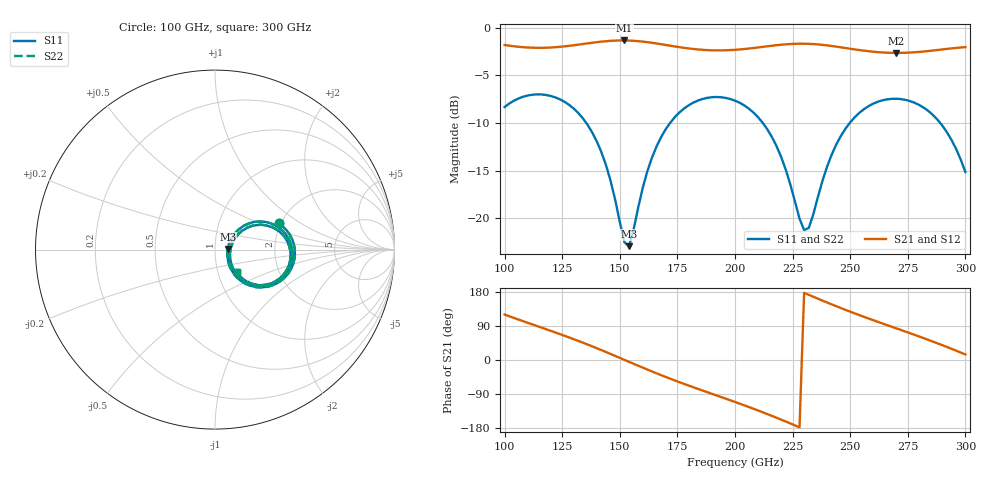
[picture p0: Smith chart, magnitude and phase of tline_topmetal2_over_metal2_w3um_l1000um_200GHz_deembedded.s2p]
! Created with skrf 2.2.0 (http://scikit-rf.org).
# GHz S DB R 50.0
! Port[1] = P1
! Port[2] = P2
!freq dBS11 angS11 dBS21 angS21 dBS12 angS12 dBS22 angS22
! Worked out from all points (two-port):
!   101 points, 100 GHz to 300 GHz, reference 50 ohm
!   highest |S21| = -1.36 dB at 152 GHz (marker M1); lowest = -2.7 dB at 270 GHz (marker M2)
!   |S21| within 3 dB of the highest: start of sweep to end of sweep
!   lowest |S11| = -22.9 dB at 154 GHz (marker M3), VSWR 1.15, Z = 57.7 + j0.461 ohm
!   |S11| at or under -10 dB: 135.4 GHz to 171.9 GHz (36.44 GHz wide, 23.7 % of centre); 212 GHz to 249.8 GHz (37.78 GHz wide, 16.4 % of centre); 289 GHz to end of sweep
!   |S22| runs from -23.0 to -7.0 dB; largest |S21 - S12| = 9.4e-14
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100  -8.33 22.4  -1.83 119.9  -1.83 119.9  -8.33 22.3
110  -7.13 4.1  -2.09 98.2  -2.09 98.2  -7.13 4.0
118  -7.07 -10.3  -2.12 81.3  -2.12 81.3  -7.07 -10.5
134  -9.53 -39.1  -1.73 45.7  -1.73 45.7  -9.53 -39.2
144  -14.42 -52.0  -1.44 21.1  -1.44 21.1  -14.43 -52.2
152  -22.52 -22.9  -1.36 0.4  -1.36 0.4  -22.59 -23.2
154  -22.93 3.2  -1.37 -4.8  -1.37 -4.8  -23.01 3.2
162  -15.04 40.5  -1.54 -25.3  -1.54 -25.3  -15.05 40.5
168  -11.46 35.1  -1.75 -40.1  -1.75 -40.1  -11.46 35.2
182  -7.86 12.0  -2.25 -72.1  -2.25 -72.1  -7.87 11.9
200  -7.67 -19.4  -2.34 -110.8  -2.34 -110.8  -7.67 -19.5
212  -9.98 -39.3  -2.03 -137.9  -2.03 -137.9  -9.99 -39.5
220  -13.55 -48.2  -1.81 -157.3  -1.81 -157.3  -13.57 -48.7
230  -21.24 -14.3  -1.70 177.2  -1.70 177.2  -21.42 -14.6
234  -19.58 20.9  -1.74 166.9  -1.74 166.9  -19.71 21.4
240  -14.57 34.6  -1.87 151.7  -1.87 151.7  -14.61 35.1
248  -10.59 27.8  -2.15 132.2  -2.15 132.2  -10.61 28.1
258  -8.24 12.1  -2.49 109.5  -2.49 109.5  -8.25 12.3
268  -7.48 -4.7  -2.66 87.8  -2.66 87.8  -7.49 -4.5
270  -7.47 -8.0  -2.66 83.6  -2.66 83.6  -7.48 -7.9
288  -9.70 -37.4  -2.35 43.7  -2.35 43.7  -9.70 -37.1
300  -15.15 -46.5  -2.06 14.6  -2.06 14.6  -15.14 -46.1
